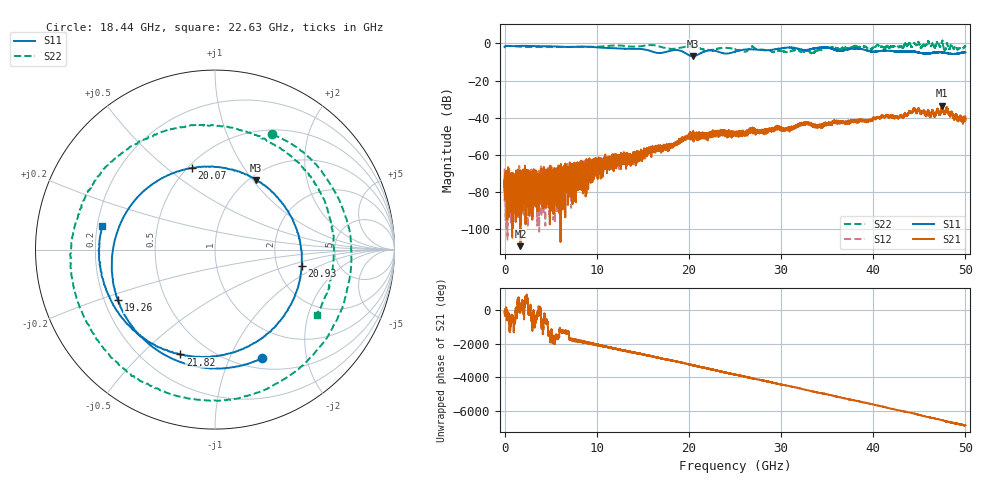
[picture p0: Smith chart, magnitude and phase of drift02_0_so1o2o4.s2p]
!Created with skrf (http://scikit-rf.org).
# Hz S RI R 50.0
!freq ReS11 ImS11 ReS21 ImS21 ReS12 ImS12 ReS22 ImS22
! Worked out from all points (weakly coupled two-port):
!   10001 points, 300 kHz to 50 GHz, reference 50 ohm
!   highest |S21| = -33.54 dB at 47.49 GHz (marker M1); lowest = -109.2 dB at 1.715 GHz (marker M2)
!   lowest |S11| = -7.0 dB at 20.4 GHz (marker M3), VSWR 2.63, Z = 53.8 + j52 ohm
!   |S11| at or under -10 dB: nowhere
!   |S22| runs from -5.4 to 1.6 dB; largest |S21 - S12| = 0.0027
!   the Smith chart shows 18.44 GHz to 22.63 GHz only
!   S11 on the Smith chart (normalised r, x): 18.44 GHz: 0.62, -1.33; 19.26 GHz: 0.26, -0.23; 20.07 GHz: 0.52, +0.61; 20.93 GHz: 2.75, -0.68; 21.82 GHz: 0.35, -0.66; 22.63 GHz: 0.22, +0.10
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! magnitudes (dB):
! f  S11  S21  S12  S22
! 300 kHz  -2.0  -78.6  -67.3  -1.3
! 255.3 MHz  -1.4  -78.5  -79.0  -1.4
! 1.715 GHz  -1.4  -109.2  -76.6  -1.8
! 4.365 GHz  -1.6  -74.2  -86.0  -2.0
! 8.335 GHz  -1.7  -66.3  -73.6  -1.9
! 16.67 GHz  -5.2  -57.8  -57.1  -1.5
! 18.44 GHz  -3.6  -54.2  -54.0  -2.9
! 19.26 GHz  -4.3  -50.5  -50.9  -2.2
! 20.07 GHz  -6.5  -49.2  -50.0  -1.5
! 20.4 GHz  -7.0  -51.6  -49.9  -1.7
! 20.93 GHz  -6.2  -48.9  -49.7  -2.2
! 21.82 GHz  -4.2  -48.5  -49.8  -3.5
! 22.63 GHz  -3.8  -49.6  -49.1  -3.4
! 25 GHz  -4.5  -48.8  -48.7  -3.3
! 26.11 GHz  -3.3  -48.2  -48.1  -4.4
! 26.88 GHz  -3.2  -47.1  -46.5  -1.7
! 33.34 GHz  -3.0  -43.9  -43.8  -5.3
! 34.92 GHz  -2.3  -43.0  -43.6  -2.2
! 41.67 GHz  -4.0  -39.8  -39.6  -2.3
! 44.41 GHz  -4.5  -34.9  -35.1  0.1
! 47.49 GHz  -4.8  -33.5  -33.7  1.4
! 50 GHz  -4.8  -40.8  -41.0  -1.6
